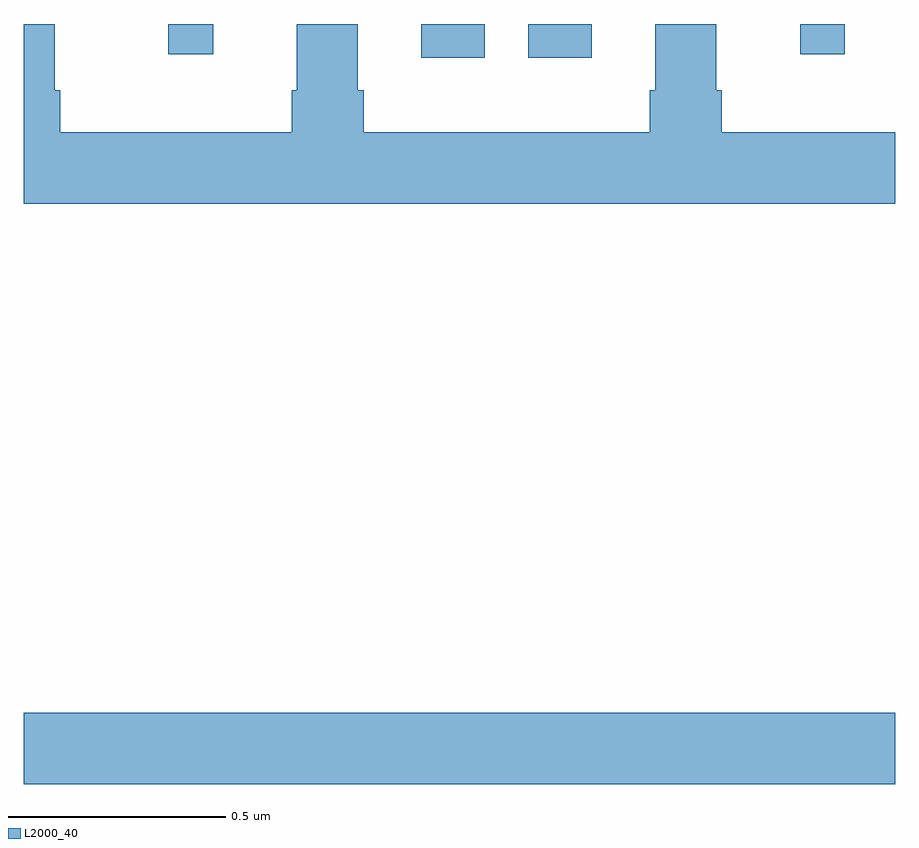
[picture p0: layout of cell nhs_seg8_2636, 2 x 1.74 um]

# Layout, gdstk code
import gdstk
lib = gdstk.Library(unit=1e-6, precision=1e-09)
def R(c, l, rs):  # rectangles x0, y0, x1, y1
    for r in rs: c.add(gdstk.rectangle(r[:2], r[2:], *l))
def P(c, l, *ps):  # polygons
    for p in ps: c.add(gdstk.Polygon(p, *l))
L2000_40 = (2000, 40)

nhs_seg8_2636 = lib.new_cell('nhs_seg8_2636')
R(nhs_seg8_2636, L2000_40, [(146,1127.156,148,1127.32), (146.912,1128.822,147.058,1128.9), (147.158,1128.822,147.304,1128.9), (146.332,1128.831,146.435,1128.9), (147.782,1128.831,147.884,1128.9)])
P(nhs_seg8_2636, L2000_40, [(148,1128.652),(147.602,1128.652),(147.602,1128.748),(147.589,1128.748),(147.589,1128.9),(147.449,1128.9),(147.449,1128.748),(147.437,1128.748),(147.437,1128.652),(146.78,1128.652),(146.78,1128.748),(146.767,1128.748),(146.767,1128.9),(146.627,1128.9),(146.627,1128.748),(146.615,1128.748),(146.615,1128.652),(146.084,1128.652),(146.084,1128.748),(146.071,1128.748),(146.071,1128.9),(146,1128.9),(146,1128.488),(148,1128.488)])

lib.write_gds('nhs_seg8_2636.gds')
